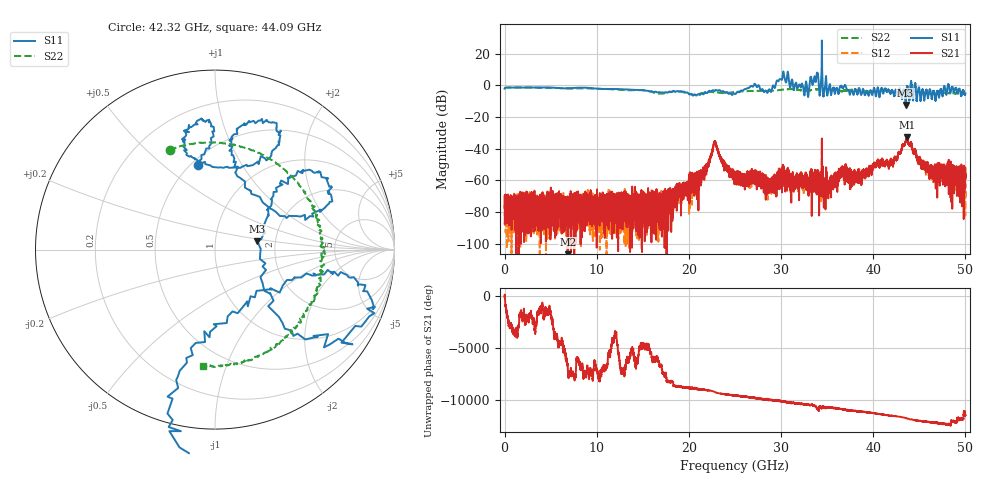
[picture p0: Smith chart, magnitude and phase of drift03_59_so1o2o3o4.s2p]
!Created with skrf (http://scikit-rf.org).
# Hz S RI R 50.0
!freq ReS11 ImS11 ReS21 ImS21 ReS12 ImS12 ReS22 ImS22
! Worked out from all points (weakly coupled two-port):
!   10000 points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, 5.3 MHz to 50 GHz, reference 50 ohm
!   highest |S21| = -32.85 dB at 43.65 GHz (marker M1); lowest = -120.7 dB at 6.845 GHz (marker M2)
!   lowest |S11| = -12.4 dB at 43.52 GHz (marker M3), VSWR 1.63, Z = 80.4 + j7.8 ohm
!   |S11| at or under -10 dB: 43.48445 GHz to 43.55388 GHz (69.43 MHz wide, 0.16 % of centre)
!   |S22| runs from -5.9 to -1.3 dB; largest |S21 - S12| = 0.01
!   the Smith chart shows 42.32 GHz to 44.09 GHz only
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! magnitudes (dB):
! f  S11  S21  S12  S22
! 5.3 MHz  -2.1  -77.7  -77.7  -2.1
! 6.845 GHz  -1.9  -120.7  -78.4  -2.0
! 8.34 GHz  -1.5  -79.5  -81.3  -1.9
! 16.67 GHz  -4.4  -80.7  -72.6  -5.2
! 21.1 GHz  -5.8  -59.3  -59.5  -5.4
! 22.82 GHz  -3.4  -35.3  -35.4  -4.5
! 25.01 GHz  -5.5  -61.7  -57.2  -4.3
! 27.02 GHz  -0.3  -56.0  -56.2  -3.5
! 28.72 GHz  -2.5  -62.6  -63.5  -3.6
! 30.14 GHz  4.4  -54.7  -57.6  -2.8
! 32.74 GHz  2.0  -56.3  -57.8  -3.4
! 33.34 GHz  2.6  -58.0  -58.4  -2.9
! 33.82 GHz  4.3  -60.6  -66.1  -2.6
! 35.21 GHz  -1.5  -65.8  -65.5  -2.6
! 36.82 GHz  -0.8  -59.6  -57.9  -3.2
! 38.52 GHz  -2.4  -57.3  -59.1  -3.0
! 41.67 GHz  -2.9  -50.0  -50.6  -3.7
! 43.52 GHz  -12.4  -35.6  -35.8  -4.3
! 43.65 GHz  -1.6  -32.9  -33.7  -4.1
! 45.93 GHz  -7.3  -53.3  -52.7  -5.5
! 49.73 GHz  -3.0  -74.1  -60.1  -5.0
! 50 GHz  -5.2  -59.1  -70.4  -5.0
